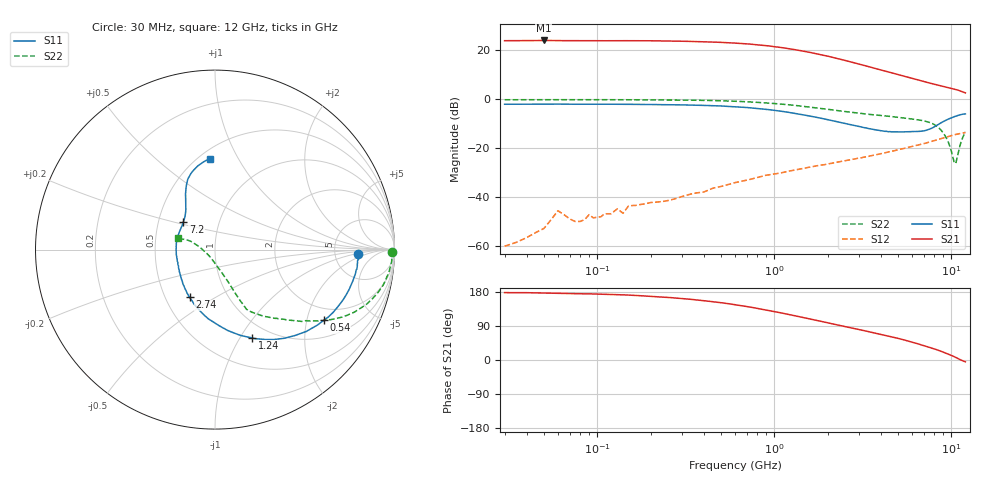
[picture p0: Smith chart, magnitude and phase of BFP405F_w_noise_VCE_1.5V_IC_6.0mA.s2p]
! Infineon Technologies  Discrete & RF Semiconductors
! BFP405F
! VCE =  1.5 V,  IC =  6.0 mA
! Common Emitter S-Parameters:  Nov 2015
# GHz  S  MA  R  50
!  f  S11  S21  S12  S22
! GHz  MAG  ANG  MAG  ANG  MAG  ANG  MAG  ANG
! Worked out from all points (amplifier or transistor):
!   239 points, 30 MHz to 12 GHz, reference 50 ohm
!   highest |S21| = 24.1 dB at 50 MHz (marker M1)
!   |S21| within 3 dB of that: start of sweep to 1.12 GHz
!   unconditionally stable (mu >= 1): 2.669 GHz to end of sweep
!   at 300 MHz: K = 0.14, MSG = 31.8 dB, |S12| = -39.7 dB
!   at 1.88 GHz: K = 0.76, MSG = 22.4 dB, |S12| = -26.8 dB
!   at 12 GHz: K = 1.44, MAG = 4.2 dB, |S12| = -13.6 dB
!   lowest NFmin = 1.38 dB at 450 MHz
!   S11 on the Smith chart (normalised r, x): 30 MHz: 8.67, -1.19; 540 MHz: 1.54, -2.54; 1.24 GHz: 0.82, -1.13; 2.74 GHz: 0.66, -0.39; 7.2 GHz: 0.67, +0.22; 12 GHz: 0.57, +0.77
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0.03  0.7966 -1.8  15.85 177.8  0.001 116.5  0.9845 -0.8
0.05  0.7984 -3.5  16.04 176.6  0.0023 128.7  0.9848 -1.1
0.06  0.8017 -3.7  15.88 176.1  0.0053 75.2  0.9898 -1.9
0.085  0.7972 -5.4  15.86 174.6  0.0035 81.9  0.9868 -2.6
0.14  0.7941 -9.0  15.85 172.0  0.0047 91.2  0.9854 -4.3
0.24  0.7825 -15.3  15.63 165.7  0.0083 85.6  0.9774 -7.4
0.3  0.7733 -19.0  15.5 162.2  0.0103 80.9  0.9687 -9.2
0.38  0.7585 -23.8  15.18 157.7  0.0125 78.3  0.9594 -11.5
0.54  0.7229 -33.0  14.45 149.1  0.0179 77.9  0.9299 -15.9
0.6  0.7082 -36.5  14.17 145.9  0.0199 76.5  0.9182 -17.5
0.7  0.683 -41.9  13.69 141.0  0.0223 73.2  0.8967 -19.9
0.9  0.627 -52.0  12.58 131.8  0.0282 69.0  0.8493 -24.3
1.24  0.5347 -67.1  10.75 118.9  0.0348 65.3  0.7697 -30.1
1.64  0.4472 -82.6  8.933 107.0  0.0422 61.5  0.6887 -35.2
2.18  0.3609 -101.5  7.115 94.3  0.0508 58.5  0.6029 -41.2
2.74  0.3009 -118.1  5.774 84.4  0.0591 56.5  0.5424 -45.6
3.4  0.2537 -135.9  4.685 75.0  0.0684 54.9  0.497 -50.1
4.5  0.2198 -163.0  3.566 62.4  0.0854 52.5  0.4501 -54.8
7.2  0.2337 139.0  2.257 36.0  0.1282 44.0  0.3544 -62.7
9  0.3528 117.7  1.841 20.7  0.1627 36.2  0.2064 -67.1
10.4  0.4438 107.7  1.622 8.5  0.1894 28.2  0.0498 -120.7
12  0.5061 93.1  1.359 -4.9  0.2097 19.6  0.217 163.3
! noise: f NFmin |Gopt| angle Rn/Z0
0.45  1.38  0.34  6  0.33
0.9  1.39  0.31  11  0.33
1.5  1.45  0.29  18  0.31
1.9  1.48  0.27  24  0.3
2.4  1.63  0.26  33  0.32
3  1.7  0.24  45  0.31
3.5  1.75  0.22  54  0.28
4.5  1.9  0.17  62  0.22
5.5  2.12  0.09  71  0.09
